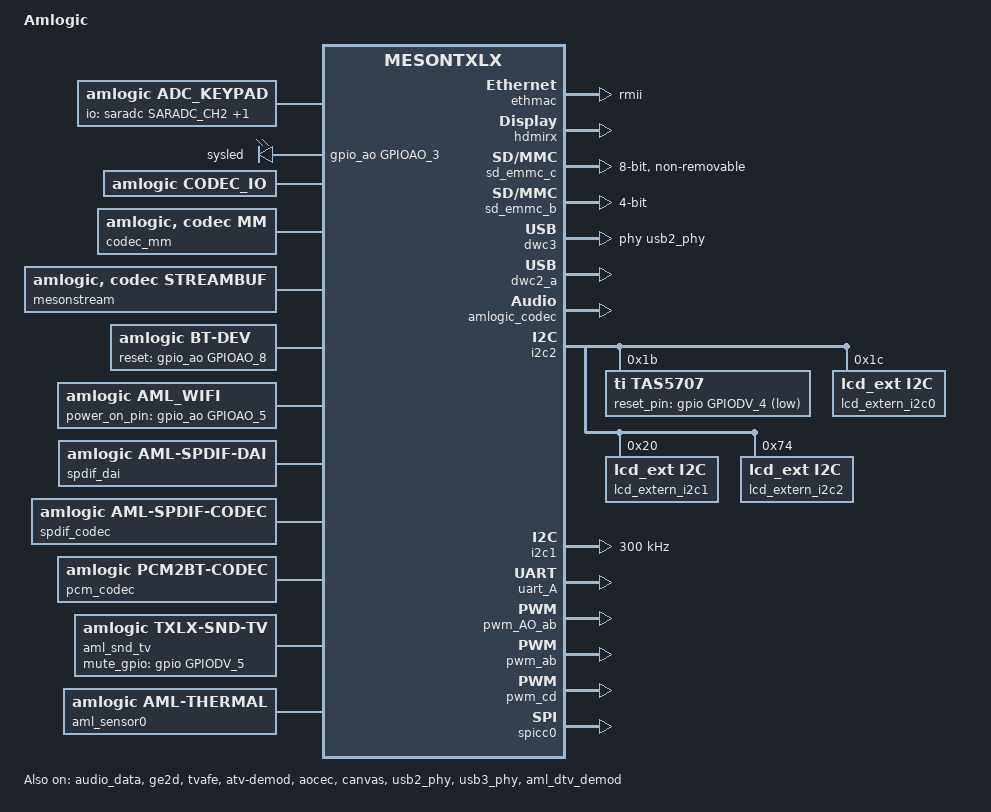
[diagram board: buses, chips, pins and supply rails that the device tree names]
/*
 * arch/arm/boot/dts/amlogic/txlx_t962x_r311_1g.dts
 *
 * Copyright (C) 2017 Amlogic, Inc. All rights reserved.
 *
 * This program is free software; you can redistribute it and/or modify
 * it under the terms of the GNU General Public License as published by
 * the Free Software Foundation; either version 2 of the License, or
 * (at your option) any later version.
 *
 * This program is distributed in the hope that it will be useful, but WITHOUT
 * ANY WARRANTY; without even the implied warranty of MERCHANTABILITY or
 * FITNESS FOR A PARTICULAR PURPOSE.  See the GNU General Public License for
 * more details.
 *
 */

/dts-v1/;
#include <dt-bindings/gpio/meson-txlx-gpio.h>
#include <dt-bindings/gpio/gpio.h>

#include "mesontxlx.dtsi"
#include "partition_mbox_normal.dtsi"
#include "mesontxlx_r311-panel.dtsi"

/ {
	model = "Amlogic";
	amlogic-dt-id = "txlx_t962x_r311-720p";
	compatible = "amlogic, txlx";
	interrupt-parent = <&gic>;
	#address-cells = <1>;
	#size-cells = <1>;

	aliases {
		serial0 = &uart_AO;
		serial1 = &uart_A;
		serial2 = &uart_B;
		serial3 = &uart_C;
		serial4 = &uart_AO_B;
	};

	ion_dev {
		compatible = "amlogic, ion_dev";
		memory-region = <&ion_reserved>;
	};

	memory@00000000 {
		device_type = "memory";
		linux,usable-memory = <0x100000 0x3ff00000>;
	};

	reserved-memory {
		#address-cells = <1>;
		#size-cells = <1>;
		ranges;
		/* global autoconfigured region for contiguous allocations */
		ramoops@0x07400000 {
			compatible = "ramoops";
			reg = <0x07400000 0x00100000>;
			record-size = <0x8000>;
			console-size = <0x8000>;
			ftrace-size = <0x0>;
			pmsg-size = <0x8000>;
		};
		secmon_reserved:linux,secmon {
			compatible = "shared-dma-pool";
			reusable;
			size = <0x400000>;
			alignment = <0x400000>;
			alloc-ranges = <0x05000000 0x400000>;
		};

		//secos_reserved:linux,secos {
		//	status = "disabled";
		//	compatible = "amlogic, aml_secos_memory";
		//	reg = <0x05300000 0x2000000>;
		//	no-map;
		//};



		logo_reserved:linux,meson-fb {
			compatible = "shared-dma-pool";
			reusable;
			size = <0x400000>;
			alignment = <0x400000>;
			alloc-ranges = <0x3fc00000 0x400000>;
		};

		//carveout_reserved:linux,carveout-reserve {
		//	compatible = "amlogic, idev-mem";
		//	size = <0x1000>;
		//};

		ion_reserved:linux,ion-dev {
			compatible = "shared-dma-pool";
			reusable;
			size = <0x4C00000>;
			alignment = <0x400000>;
			alloc-ranges = <0x0 0x30000000>;
		};

		/*di CMA pool */
		di_cma_reserved:linux,di_cma {
			compatible = "shared-dma-pool";
			reusable;
			/* buffer_size = 3621952(yuv422 8bit)
			 *  | 4736064(yuv422 10bit)
			 *  | 4179008(yuv422 10bit full pack mode)
			 * 10x3621952=34.6M(0x23) support 8bit
			 * 10x4736064=45.2M(0x2e) support 12bit
			 * 10x4179008=40M(0x28) support 10bit
			 */
			size = <0x02800000>;
			alignment = <0x400000>;
		};

		/* POST PROCESS MANAGER */
		ppmgr_reserved:linux,ppmgr {
			compatible = "amlogic, ppmgr_memory";
			size = <0x0>;
		};

		codec_mm_cma:linux,codec_mm_cma {
			compatible = "shared-dma-pool";
			reusable;
			/* ion_codec_mm max can alloc size 80M*/
			size = <0xd000000>;
			alignment = <0x400000>;
			linux,contiguous-region;
		};

		picdec_cma_reserved:linux,picdec {
			compatible = "shared-dma-pool";
			reusable;
			size = <0x0>;
			alignment = <0x0>;
			linux,contiguous-region;
		};

		/* codec shared reserved */
		codec_mm_reserved:linux,codec_mm_reserved {
			compatible = "amlogic, codec-mm-reserved";
			size = <0x0>;
			alignment = <0x100000>;
			//no-map;
		};

		demod_cma_reserved:linux,demod_cma {
			compatible = "shared-dma-pool";
			reusable;
			/* 5M */
			size = <0x0800000>;
			alignment = <0x400000>;
		};

		/*  vdin1 CMA pool */
		vdin1_cma_reserved:linux,vdin1_cma {
			compatible = "shared-dma-pool";
			linux,phandle = <5>;
			reusable;
			/* 1920x1080x2x4  =16+4 M */
			size = <0x01400000>;
			alignment = <0x400000>;
		};

		/*vbi reserved mem*/
		vbi_reserved:linux,vbi {
			compatible = "amlogic, vbi-mem";
			size = <0x100000>;
			alloc-ranges = <0x0 0x30000000>;
		};
	};

	amlogic_battery:dummy-battery {
		compatible = "amlogic, dummy-battery";
		status = "disabled";
	};

	amlogic_charger:dummy-charger {
		compatible = "amlogic, dummy-charger";
		status = "disabled";
	};

	/* for external keypad */
	adc_keypad {
		compatible = "amlogic, adc_keypad";
		status = "okay";
		key_name = "power","up","down","enter","left","right","home";
		key_num = <7>;
		io-channels = <&saradc SARADC_CH2>,
					<&saradc SARADC_CH3>;
		io-channel-names = "key-chan-2", "key-chan-3";
		key_chan = <SARADC_CH2 SARADC_CH2 SARADC_CH2 SARADC_CH2
					SARADC_CH2 SARADC_CH3 SARADC_CH3>;
		key_code = <116 103 108 28 105 106 102>;
		key_val = <0 143 266 389 512 143 266>; //val=voltage/1800mV*1023
		key_tolerance = <40 40 40 40 40 40 40>;
	};

	gpioleds {
		compatible = "gpio-leds";
		status = "okay";

		sys {
			label = "sysled";
			gpios = <&gpio_ao GPIOAO_3 GPIO_ACTIVE_HIGH>;
			default-state = "on"; /* keep/on/off */
			linux,default-trigger = "none";
		};

	};

	pwmleds {
		compatible = "pwm-leds";
		status = "disabled";
		pinctrl-names = "default";
		pinctrl-0 = <&pwmleds_pins>;

		sys {
			active-low;
			label = "sysled";
			max-brightness = <255>;
			pwms = <&pwm_AO_ab 0 50000 0>;
		};
	};

	ethmac: ethernet@0xff3f0000 {
		compatible = "amlogic, gxbb-eth-dwmac";
		status = "okay";
		reg = <0xff3f0000 0x10000
			0xff634540 0x8
			0xff634558 0xc
			0xffd01084 0x4>;
		interrupts = <0 8 1
				0 9 1>;

		phy-mode= "rmii";
		mc_val_internal_phy = <0x1804>;
		mc_val_external_phy = <0x1621>;
		interrupt-names = "macirq",
				"phyirq";
		clocks = <&clkc CLKID_ETH_CORE>;
		clock-names = "ethclk81";
		internal_phy = <1>;
	};

	vout {
		compatible = "amlogic, vout";
		dev_name = "vout";
		status = "okay";
		fr_auto_policy = <0>;
	};

	meson-fb {
		compatible = "amlogic, meson-txlx";
		memory-region = <&logo_reserved>;
		dev_name = "meson-fb";
		status = "okay";
		interrupts = <0 3 1
			0 89 1>;
		interrupt-names = "viu-vsync", "rdma";
		mem_size = <0x00400000 0x00b00000 0x00100000>;
		/* uboot logo,fb0/fb1 memory size,if afbcd fb0=0x0b51000*/
		display_mode_default = "720p60hz";
		scale_mode = <1>;
		/*1280*720*4*3 = 0xA8C000*/
		display_size_default = <1280 720 1280 2160 32>;
		pxp_mode = <0>; /** 0:normal mode 1:pxp mode */
		logo_addr = "0x3fc00000";
	};

	ge2d {
		compatible = "amlogic, ge2d-txlx";
		dev_name = "ge2d";
		status = "okay";
		interrupts = <0 150 1>;
		interrupt-names = "ge2d";
		clocks = <&clkc CLKID_VAPB_MUX>,
			<&clkc CLKID_G2D>,
			<&clkc CLKID_GE2D_GATE>;
		clock-names = "clk_vapb_0",
			"clk_ge2d",
			"clk_ge2d_gate";
		reg = <0xff940000 0x10000>;
	};

	codec_io {
		compatible = "amlogic, codec_io";
		status = "okay";
		#address-cells=<1>;
		#size-cells=<1>;
		ranges;
		io_cbus_base{
			reg = <0xffd00000 0x100000>;
		};
		io_dos_base{
			reg = <0xff620000 0x10000>;
		};
		io_hiubus_base{
			reg = <0xff63c000 0x2000>;
		};
		io_aobus_base{
			reg = <0xff800000 0x10000>;
		};
		io_vcbus_base{
			reg = <0xff900000 0x40000>;
		};
		io_dmc_base{
			reg = <0xff638000 0x2000>;
		};
	};

	codec_mm {
		compatible = "amlogic, codec, mm";
		memory-region = <&codec_mm_cma &codec_mm_reserved>;
		dev_name = "codec_mm";
		status = "okay";
	};

	mesonstream {
		compatible = "amlogic, codec, streambuf";
		dev_name = "mesonstream";
		status = "okay";
		clocks = <&clkc CLKID_DOS_PARSER
			&clkc CLKID_DEMUX
			&clkc CLKID_DOS
			&clkc CLKID_CLK81
			&clkc CLKID_VDEC_MUX
			&clkc CLKID_HCODEC_MUX
			&clkc CLKID_HEVC_MUX>;
		clock-names = "parser_top",
			"demux",
			"vdec",
			"clk_81",
			"clk_vdec_mux",
			"clk_hcodec_mux",
			"clk_hevc_mux";
	};

	vdec {
		compatible = "amlogic, vdec";
		dev_name = "vdec.0";
		status = "okay";
		interrupts = <0 3 1
			0 23 1
			0 32 1
			0 43 1
			0 44 1
			0 45 1>;
		interrupt-names = "vsync",
			"demux",
			"parser",
			"mailbox_0",
			"mailbox_1",
			"mailbox_2";
	};

	meson-amvideom {
		compatible = "amlogic, amvideom";
		dev_name = "amvideom";
		status = "okay";
		interrupts = <0 3 1>;
		interrupt-names = "vsync";
	};



	amvideocap {
		compatible = "amlogic, amvideocap";
		dev_name = "amvideocap.0";
		status = "disabled";
		max_size = <8>;//8M
	};

	picdec {
		compatible = "amlogic, picdec";
		memory-region = <&picdec_cma_reserved>;
		dev_name = "picdec";
		status = "okay";
	};

	ppmgr {
		compatible = "amlogic, ppmgr";
		memory-region = <&ppmgr_reserved>;
		dev_name = "ppmgr";
		status = "okay";
	};

	deinterlace {
		compatible = "amlogic, deinterlace";
		status = "okay";
		/* 0:use reserved; 1:use cma; 2:use cma as reserved */
		flag_cma = <1>;
		//memory-region = <&di_reserved>;
		memory-region = <&di_cma_reserved>;
		interrupts = <0 46 1
				0 6 1>;
		interrupt-names = "de_irq";
		clocks = <&clkc CLKID_VPU_MUX>,
			<&clkc CLKID_FCLK_DIV4>,
			<&clkc CLKID_VPU_CLKB_TMP_COMP>,
			<&clkc CLKID_VPU_CLKB_COMP>;
		clock-names = "vpu_mux",
			"fclk_div4",
			"vpu_clkb_tmp_composite",
			"vpu_clkb_composite";
		clock-range = <250 500>;
		/* buffer-size = <3621952>;(yuv422 8bit) */
		buffer-size = <4179008>;/*yuv422 fullpack*/
		/* reserve-iomap = "true"; */
		/* if enable nr10bit, set nr10bit-support to 1 */
		nr10bit-support = <1>;
	};
	ionvideo {
		compatible = "amlogic, ionvideo";
		dev_name = "ionvideo";
		status = "okay";
	};

	amlvideo {
		compatible = "amlogic, amlvideo";
		dev_name = "amlvideo";
		status = "okay";
	};

	amlvideo2_0 {
		compatible = "amlogic, amlvideo2";
		dev_name = "amlvideo2";
		status = "okay";
		amlvideo2_id = <0>;
		cma_mode = <1>;
	};

	amlvideo2_1 {
		compatible = "amlogic, amlvideo2";
		dev_name = "amlvideo2";
		status = "okay";
		amlvideo2_id = <1>;
		cma_mode = <1>;
	};

	hdmirx {
		compatible = "amlogic, hdmirx_txlx";
		#address-cells=<1>;
		#size-cells=<1>;
		dev_name = "hdmirx";
		status = "okay";
		pinctrl-names = "hdmirx_pins";
		pinctrl-0 = <&hdmirx_a_mux &hdmirx_b_mux
			&hdmirx_c_mux &hdmirx_d_mux>;
		repeat = <0>;
		interrupts = <0 56 1>;
		clocks = <&clkc CLKID_HDMIRX_MODET_COMP>,
			   <&clkc CLKID_HDMIRX_CFG_COMP>,
			   <&clkc CLKID_HDMIRX_ACR_COMP>,
			   <&clkc CLKID_HDMIRX_AUDMEAS_COMP>,
			   <&xtal>,
			   <&clkc CLKID_FCLK_DIV5>,
			   <&clkc CLKID_FCLK_DIV7>,
			   <&clkc CLKID_HDCP22_SKP_COMP>,
			   <&clkc CLKID_HDCP22_ESM_COMP>;
		//	   <&clkc CLK_AUD_PLL2FS>,
		//	   <&clkc CLK_AUD_PLL4FS>,
		//	   <&clkc CLK_AUD_OUT>;
		clock-names = "hdmirx_modet_clk",
			"hdmirx_cfg_clk",
				"hdmirx_acr_ref_clk",
				"hdmirx_audmeas_clk",
				"xtal",
				"fclk_div5",
				"fclk_div7",
				"hdcp_rx22_skp",
				"hdcp_rx22_esm";
		//		"hdmirx_aud_pll2fs",
		//		"hdmirx_aud_pll4f",
		//		"clk_aud_out";
		hdmirx_id = <0>;
		en_4k_2_2k = <0>;
		hpd_low_cec_off = <1>;
		/* bit4: enable feature, bit3~0: port number */
		disable_port = <0x0>;
		reg = <0xffd26000 0xa00000
			0xff63C000 0x2000
			0xffe0d000 0x2000
			0xff63e000 0x2000
			0x0 0x0
			0xff634400 0x2000
			0xff646000 0x2000>;
	};

	vdin0 {
		compatible = "amlogic, vdin";
		/*memory-region = <&vdin0_cma_reserved>;*/
		dev_name = "vdin0";
		status = "okay";
		reserve-iomap = "true";
		/*bit0:(1:share with codec_mm;0:cma alone)*/
		/*bit8:(1:alloc in discontinus way;0:alone in continuous way)*/
		flag_cma = <0x101>;
		/* MByte, if 10bit disable: 64M(YUV422),
		 * if 10bit enable: 64*1.5 = 96M(YUV422)
		 * if support 4K2K-YUV444-10bit-WR:3840*2160*4*4 ~= 128M
		 * if support 4K2K-YUV444-10bit-WR:3840*2160*4*6 ~= 190M
		 * if support 4K2K-YUV422-10bit-wr:3840*2160*3*4 ~= 96M
		 * if support 4K2K-YUV422-8BIT-WR:3840*2160*2*4 ~= 64M
		 * if support 1080p-YUV422-8BIT-WR:1920*1080*2*4 ~= 16M
		 */
		cma_size = <190>;
		interrupts = <0 83 1>;
		rdma-irq = <2>;
		clocks = <&clkc CLKID_FCLK_DIV5>,
			<&clkc CLKID_VDIN_MEAS_COMP>;
		clock-names = "fclk_div5", "cts_vdin_meas_clk";
		vdin_id = <0>;
		/* vdin write mem color depth support:
		 * bit0:support 8bit
		 * bit1:support 9bit
		 * bit2:support 10bit
		 * bit3:support 12bit
		 * bit4:support yuv422 10bit full pack mode (from txl new add)
		 * bit8:use 8bit  at 4k_50/60hz_10bit
		 * bit9:use 10bit at 4k_50/60hz_10bit
		 */
		tv_bit_mode = <0x215>;
	};

	vdin1 {
		compatible = "amlogic, vdin";
		memory-region = <&vdin1_cma_reserved>;
		dev_name = "vdin1";
		status = "okay";
		reserve-iomap = "true";
		flag_cma = <0>;/*1:share with codec_mm;0:cma alone*/
		interrupts = <0 85 1>;
		rdma-irq = <4>;
		clocks = <&clkc CLKID_FCLK_DIV5>,
			<&clkc CLKID_VDIN_MEAS_COMP>;
		clock-names = "fclk_div5", "cts_vdin_meas_clk";
		vdin_id = <1>;
		/* vdin write mem color depth support:
		 * bit0:support 8bit
		 * bit1:support 9bit
		 * bit2:support 10bit
		 * bit3:support 12bit
		 */
		tv_bit_mode = <1>;
	};

	tvafe {
		compatible = "amlogic, tvafe-txlx";
		/*memory-region = <&tvafe_cma_reserved>;*/
		dev_name = "tvafe";
		status = "okay";
		flag_cma = <1>;/*1:share with codec_mm;0:cma alone*/
		cma_size = <5>;/*MByte*/
		reg = <0xff642000 0x2000>;/*tvafe reg base*/
		reserve-iomap = "true";
		tvafe_id = <0>;
		//pinctrl-names = "default";
		/*!!particular sequence, no more and no less!!!*/
		tvafe_pin_mux = <
				3 /* TVAFE_CVBS_IN2, CVBS_IN0 = 0 */
				1 /* TVAFE_CVBS_IN0, CVBS_IN1 */
				2 /* TVAFE_CVBS_IN1, CVBS_IN2 */
				4 /* TVAFE_CVBS_IN3, CVBS_IN3 */
		>;
		clocks = <&clkc CLKID_DAC_CLK>;
		clock-names = "vdac_clk_gate";
	};

	vbi {
		compatible = "amlogic, vbi";
		memory-region = <&vbi_reserved>;
		dev_name = "vbi";
		status = "okay";
		interrupts = <0 83 1>;
		reserve-iomap = "true";
	};

	tvafe_avin_detect {
		compatible = "amlogic, tvafe_avin_detect";
		dev_name = "tvafe_avin_detect";
		status = "okay";
		device_mask = <1>;/*bit0:ch1;bit1:ch2*/
		interrupts = <0 12 1>,
				<0 13 1>;
	};

	amlvecm {
		compatible = "amlogic, vecm";
		dev_name = "aml_vecm";
		status = "okay";
		gamma_en = <1>;/*1:enabel ;0:disable*/
		wb_en = <1>;/*1:enabel ;0:disable*/
		cm_en = <1>;/*1:enabel ;0:disable*/
		wb_sel = <1>;/*1:mtx ;0:gainoff*/
		vlock_en = <1>;/*1:enable;0:disable*/
		vlock_mode = <0x4>;
		/* vlock work mode:
		 *bit0:auto ENC
		 *bit1:auto PLL
		 *bit2:manual PLL
		 *bit3:manual ENC
		 *bit4:manual soft ENC
		 *bit5:manual MIX PLL ENC
		 */
		 vlock_pll_m_limit = <1>;
		 vlock_line_limit = <3>;
	};
	amdolby_vision {
		compatible = "amlogic, dolby_vision_txlx";
		dev_name = "aml_amdolby_vision_driver";
		status = "okay";
		tv_mode = <1>;/*1:enabel ;0:disable*/
	};
	amvenc_avc {
		compatible = "amlogic, amvenc_avc";
		//memory-region = <&amvenc_avc_reserved>;
		//memory-region = <&avc_cma_reserved>;
		dev_name = "amvenc_avc";
		status = "okay";
		interrupts = <0 45 1>;
		interrupt-names = "mailbox_2";
	};

	tuner: tuner {
		status = "okay";
		tuner_name = "mxl661_tuner";
		tuner_i2c_adap = <&i2c1>;
		tuner_i2c_addr = <0x60>;
		tuner_xtal = <0>; /* 0: 16MHz, 1: 24MHz */
		tuner_xtal_mode = <0>;
					/* NO_SHARE_XTAL(0)
					 * SLAVE_XTAL_SHARE(1)
					 */
		tuner_xtal_cap = <30>; /* when tuner_xtal_mode = 1, set 25 */
	};

	atv-demod {
		compatible = "amlogic, atv-demod";
		status = "okay";
		tuner = <&tuner>;
		btsc_sap_mode = <1>;
		/* pinctrl-names="atvdemod_agc_pins"; */
		/* pinctrl-0=<&atvdemod_agc_pins>; */
		reg = <0xff640000 0x2000 /* demod reg */
				0xff63c000 0x2000 /* hiu reg */
				0xff634000 0x2000 /* periphs reg */
				0xff648000 0x2000>; /* audio reg */
		reg_23cf = <0x88188832>;
		/*default:0x88188832;r840 on haier:0x48188832*/
	};

	bt-dev {
		compatible = "amlogic, bt-dev";
		dev_name = "bt-dev";
		status = "okay";
		power_down_disable = <1>;
		gpio_reset = <&gpio_ao GPIOAO_8 GPIO_ACTIVE_HIGH>;
		//gpio_en = <&gpio_ao GPIOAO_5 GPIO_ACTIVE_HIGH>;
	};

	rtc {
		compatible = "amlogic, aml_vrtc";
		alarm_reg_addr = <0xff8000a8>;
		timer_e_addr = <0xffd0f188>;
		init_date = "2015/01/01";
		status = "okay";
	};

	wifi {
		compatible = "amlogic, aml_wifi";
		dev_name = "aml_wifi";
		status = "okay";
		interrupt_pin = <&gpio_ao GPIOAO_4 GPIO_ACTIVE_HIGH>;
		interrupts = <0 68 4>;
		irq_trigger_type = "GPIO_IRQ_HIGH";
		dhd_static_buf;
		power_on_pin = <&gpio_ao GPIOAO_5 GPIO_ACTIVE_HIGH>;
		pinctrl-names = "default";
		pinctrl-0 = <&wifi_32k_pins>;
		pwm_config = <&wifi_pwm_conf>;
	};

	wifi_pwm_conf: wifi_pwm_conf {
		pwm_channel1_conf {
			pwms = <&pwm_cd MESON_PWM_1 30541 0>;
			duty-cycle = <15270>;
			times = <10>;
		};
		pwm_channel2_conf {
			pwms = <&pwm_cd MESON_PWM_3 30500 0>;
			duty-cycle = <15250>;
			times = <12>;
		};
	};

	sd_emmc_c: emmc@ffe07000 {
		status = "okay";
		compatible = "amlogic, meson-mmc-txlx";
		reg = <0xffe07000 0x2000>;
		interrupts = <0 218 1>;
		pinctrl-names = "emmc_clk_cmd_pins", "emmc_all_pins";
		pinctrl-0 = <&emmc_clk_cmd_pins>;
		pinctrl-1 = <&emmc_conf_pull_up &emmc_conf_pull_done>;
		clocks = <&clkc CLKID_SD_EMMC_C>,
			   <&clkc CLKID_SD_EMMC_C_P0_COMP>,
			   <&clkc CLKID_FCLK_DIV2>,
			   <&clkc CLKID_FCLK_DIV5>,
			   <&xtal>;
		clock-names = "core", "clkin0", "clkin1", "clkin2", "xtal";

		bus-width = <8>;
		cap-sd-highspeed;
		cap-mmc-highspeed;
		mmc-ddr-1_8v;
		mmc-hs200-1_8v;

		max-frequency = <200000000>;
		non-removable;
		disable-wp;
		emmc {
			status = "disabled";
			pinname = "emmc";
			ocr_avail = <0x200080>; /**VDD voltage 3.3 ~ 3.4 */
			caps = "MMC_CAP_8_BIT_DATA",
				 "MMC_CAP_MMC_HIGHSPEED",
				 "MMC_CAP_SD_HIGHSPEED",
				 "MMC_CAP_NONREMOVABLE",
				 "MMC_CAP_1_8V_DDR",
				 "MMC_CAP_HW_RESET",
				 "MMC_CAP_ERASE",
				 "MMC_CAP_CMD23";
			caps2 = "MMC_CAP2_HS200", "MMC_CAP2_HS400";
			f_min = <400000>;
			f_max = <200000000>;
			max_req_size = <0x20000>; /**128KB*/
			gpio_dat3 = <&gpio BOOT_3 GPIO_ACTIVE_HIGH>;
			hw_reset = <&gpio BOOT_9 GPIO_ACTIVE_HIGH>;
			card_type = <1>;
			/* 1:mmc card(include eMMC),
			 * 2:sd card(include tSD)
			 */
		};
	};

	sd_emmc_b: sd@ffe05000 {
		status = "okay";
		compatible = "amlogic, meson-mmc-txlx";
		reg = <0xffe05000 0x2000>;
		interrupts = <0 217 1>;
		pinctrl-names = "sd_all_pins",
			"sd_clk_cmd_pins",
			"sd_1bit_pins",
			"sd_clk_cmd_uart_pins",
			"sd_1bit_uart_pins",
			"sd_to_ao_uart_pins",
			"ao_to_sd_uart_pins",
			"ao_to_sd_jtag_pins",
			"sd_to_ao_jtag_pins";
		pinctrl-0 = <&sd_all_pins>;
		pinctrl-1 = <&sd_clk_cmd_pins>;
		pinctrl-2 = <&sd_1bit_pins>;
		pinctrl-3 = <&sd_to_ao_uart_clr_pins
			&sd_clk_cmd_pins &ao_to_sd_uart_pins>;
		pinctrl-4 = <&sd_to_ao_uart_clr_pins
			&sd_1bit_pins &ao_to_sd_uart_pins>;
		pinctrl-5 = <&sd_all_pins &sd_to_ao_uart_pins>;
		pinctrl-6 = <&sd_to_ao_uart_clr_pins &ao_to_sd_uart_pins>;
		pinctrl-7 = <&sd_to_ao_uart_clr_pins &ao_to_sd_uart_pins>;
		pinctrl-8 = <&sd_all_pins &sd_to_ao_uart_pins>;
		clocks = <&clkc CLKID_SD_EMMC_B>,
			   <&clkc CLKID_SD_EMMC_B_P0_COMP>,
			   <&clkc CLKID_FCLK_DIV2>,
			   <&clkc CLKID_FCLK_DIV5>,
			   <&xtal>;
		clock-names = "core", "clkin0", "clkin1", "clkin2", "xtal";

		bus-width = <4>;
		cap-sd-highspeed;
		max-frequency = <100000000>;
		disable-wp;
		sd {
			status = "disabled";
			pinname = "sd";
			ocr_avail = <0x200080>; /**VDD voltage 3.3 ~ 3.4 */
			caps = "MMC_CAP_4_BIT_DATA",
				 "MMC_CAP_MMC_HIGHSPEED",
				 "MMC_CAP_SD_HIGHSPEED";
			/* "MMC_CAP_UHS_SDR12",
			 * "MMC_CAP_UHS_SDR25",
			 * "MMC_CAP_UHS_SDR50",
			 * "MMC_CAP_UHS_SDR104";
			 */
			f_min = <400000>;
			f_max = <200000000>;
			max_req_size = <0x20000>; /**128KB*/
			gpio_dat3 = <&gpio GPIOC_4 GPIO_ACTIVE_HIGH>;
			jtag_pin = <&gpio GPIOC_0 GPIO_ACTIVE_HIGH>;
			gpio_cd = <&gpio GPIOH_10 GPIO_ACTIVE_HIGH>;
			card_type = <5>;
			/* 3:sdio device(ie:sdio-wifi),
			 * 4:SD combo (IO+mem) card
			 * 5:NON sdio device(means sd/mmc card)
			 */
		};
	};

	unifykey {
		compatible = "amlogic, unifykey";
		status = "okay";

		unifykey-num = <20>;
		unifykey-index-0 = <&keysn_0>;
		unifykey-index-1 = <&keysn_1>;
		unifykey-index-2 = <&keysn_2>;
		unifykey-index-3 = <&keysn_3>;
		unifykey-index-4 = <&keysn_4>;
		unifykey-index-5 = <&keysn_5>;
		unifykey-index-6 = <&keysn_6>;
		unifykey-index-7 = <&keysn_7>;
		unifykey-index-8 = <&keysn_8>;
		unifykey-index-9 = <&keysn_9>;
		unifykey-index-10= <&keysn_10>;
		unifykey-index-11 = <&keysn_11>;
		unifykey-index-12 = <&keysn_12>;
		unifykey-index-13 = <&keysn_13>;
		unifykey-index-14 = <&keysn_14>;
		unifykey-index-15 = <&keysn_15>;
		unifykey-index-16 = <&keysn_16>;
		unifykey-index-17 = <&keysn_17>;
		unifykey-index-18 = <&keysn_18>;
		unifykey-index-19 = <&keysn_19>;

		keysn_0: key_0{
			key-name = "usid";
			key-device = "normal";
			key-permit = "read","write","del";
		};
		keysn_1:key_1{
			key-name = "mac";
			key-device  = "normal";
			key-permit = "read","write","del";
		};
		keysn_2:key_2{
			key-name = "hdcp";
			key-device = "secure";
			key-type  = "sha1";
			key-permit = "read","write","del";
		};
		keysn_3:key_3{
			key-name = "secure_boot_set";
			key-device = "efuse";
			key-permit = "write";
		};
		keysn_4:key_4{
			key-name = "mac_bt";
			key-device = "normal";
			key-permit = "read","write","del";
			key-type  = "mac";
		};
		keysn_5:key_5{
			key-name = "mac_wifi";
			key-device = "normal";
			key-permit = "read","write","del";
			key-type  = "mac";
		};
		keysn_6:key_6{
			key-name = "hdcp2_tx";
			key-device = "normal";
			key-permit = "read","write","del";
		};
		keysn_7:key_7{
			key-name = "hdcp2_rx";
			key-device = "normal";
			key-permit = "read","write","del";
		};
		keysn_8:key_8{
			key-name = "widevinekeybox";
			key-device = "secure";
			key-type = "sha1";
			key-permit = "read","write","del";
		};
		keysn_9:key_9{
			key-name = "deviceid";
			key-device = "normal";
			key-permit = "read","write","del";
		};
		keysn_10:key_10{
			key-name = "hdcp22_fw_private";
			key-device = "secure";
			key-permit = "read","write","del";
		};
		keysn_11:key_11{
			key-name = "hdcp22_rx_private";
			key-device = "secure";
			key-permit = "read","write","del";
		};
		keysn_12:key_12{
			key-name = "hdcp22_rx_fw";
			key-device = "normal";
			key-permit = "read","write","del";
		};
		keysn_13:key_13{
			key-name = "hdcp14_rx";
			key-device = "normal";
			key-type  = "sha1";
			key-permit = "read","write","del";
		};
		keysn_14:key_14{
			key-name = "prpubkeybox";// PlayReady
			key-device = "secure";
			key-permit = "read","write","del";
		};
		keysn_15:key_15{
			key-name = "prprivkeybox";// PlayReady
			key-device = "secure";
			key-permit = "read","write","del";
		};
		keysn_16:key_16{
			key-name = "lcd";
			key-device = "normal";
			key-permit = "read","write","del";
		};
		keysn_17:key_17{
			key-name = "lcd_extern";
			key-device = "normal";
			key-permit = "read","write","del";
		};
		keysn_18:key_18{
			key-name = "backlight";
			key-device = "normal";
			key-permit = "read","write","del";
		};
		keysn_19:key_19{
			key-name = "attestationkeybox";// attestation key
			key-device = "secure";
			key-permit = "read","write","del";
		};
	}; /* End unifykey */

	cvbsout {
		compatible = "amlogic, cvbsout-txlx";
		dev_name = "cvbsout";
		status = "disabled";
		clocks = <&clkc CLKID_VCLK2_ENCI
			&clkc CLKID_VCLK2_VENCI0
			&clkc CLKID_VCLK2_VENCI1
			&clkc CLKID_DAC_CLK>;
		clock-names = "venci_top_gate",
			"venci_0_gate",
			"venci_1_gate",
			"vdac_clk_gate";

		/* performance: reg_address, reg_value */
		performance = <0x1b56  0x343
			0x1b05  0xf4
			0x1c59  0xfc48
			0x1b12  0x8c00
			0xffff  0x0>; /* ending flag */
	};

	amhdmitx: amhdmitx {
		compatible = "amlogic, amhdmitx";
		dev_name = "amhdmitx";
		status = "disabled";
		pinctrl-names="default", "hdmitx_i2c";
		pinctrl-0=<&hdmitx_hpd &hdmitx_ddc>;
		pinctrl-1=<&hdmitx_hpd_gpio &i2c2_h_pins>;
		/* HPD, 57 + 32 = 89; CEC, 151 + 32 = 183*/
		interrupts = <0 57 1>;
		interrupt-names = "hdmitx_hpd";
		/* 0:M8B 1:GXBB 2:GXTVBB 3:GXL 4:GXM
		 * 5:TXL 6:TXLX 7:AXG 8:GXLX 9:TXHD
		 */
		ic_type = <6>;
		//gpio_i2c_en = <0>;
		//repeater_tx = <0x1>;
		//#address-cells = <2>;
		//#size-cells = <2>;
		//ranges;
	};

	i2c_gpio: i2c_gpio {
		compatible = "i2c-gpio";
		dev_name = "i2c-gpio";
		status = "disabled";
		i2c-gpio,delay-us = <10>; /* 50 kHz */
		gpios = <&gpio GPIOH_2 0
			&gpio GPIOH_3 0>;
		#address-cells = <2>;
		#size-cells = <2>;
		i2c-gpio,timeout-ms = <10>;
		i2c_gpio_edid: i2c_gpio_edid {
			compatible = "i2c-gpio";
			reg = <0x50 0x0 0x0 0x0>;
		};
	};

	aocec: aocec {
		compatible = "amlogic, aocec-txlx";
		device_name = "aocec";
		status = "okay";
		vendor_name = "Amlogic"; /* Max Chars: 8     */
		/* Refer to the following URL at:
		 * http://standards.ieee.org/develop/regauth/oui/oui.txt
		 */
		vendor_id = <0x000000>;
		product_desc = "TXLX"; /* Max Chars: 16    */
		cec_osd_string = "AML_TV"; /* Max Chars: 14    */
		port_num = <4>;
		/*ee_cec;*/
		arc_port_mask = <0x2>;
		interrupts = <0 205 1
					0 199 1>;
		interrupt-names = "hdmi_aocecb","hdmi_aocec";
		pinctrl-names = "default","hdmitx_aocecb","cec_pin_sleep";
		pinctrl-0=<&hdmitx_aocec>;
		pinctrl-1=<&hdmitx_aocecb>;
		pinctrl-2=<&hdmitx_aocecb>;
		reg = <0xFF80023c 0x4
		       0xFF800000 0x400>;
		reg-names = "ao_exit","ao";
	};


	canvas {
		compatible = "amlogic, meson, canvas";
		dev_name = "amlogic-canvas";
		status = "okay";
		reg = <0xff638000 0x2000>;
	};

	rdma {
		compatible = "amlogic, meson, rdma";
		dev_name = "amlogic-rdma";
		status = "okay";
		interrupts = <0 89 1>;
		interrupt-names = "rdma";
	};

	dwc3: dwc3@ff500000 {
		compatible = "synopsys, dwc3";
		status = "okay";
		reg = <0xff500000 0x100000>;
		interrupts = <0 30 4>;
		usb-phy = <&usb2_phy>, <&usb3_phy>;
		cpu-type = "gxl";
		clock-src = "usb3.0";
	};

	usb2_phy: usb2phy@ffe09000 {
		compatible = "amlogic, amlogic-new-usb2";
		status = "okay";
		portnum = <4>;
		reg = <0xffe09000 0x80
			0xffd01008 0x4>;
	};

	usb3_phy: usb3phy@ffe09080 {
		compatible = "amlogic, amlogic-new-usb3";
		status = "okay";
		portnum = <0>;
		reg = <0xffe09080 0x20>;
	};

	dwc2_a {
		compatible = "amlogic, dwc2";
		device_name = "dwc2_a";
		reg = <0xff400000 0x40000>;
		status = "okay";
		interrupts = <0 31 4>;
		pl-periph-id = <0>; /** lm name */
		clock-src = "usb0"; /** clock src */
		port-id = <0>;  /** ref to mach/usb.h */
		port-type = <2>;        /** 0: otg, 1: host, 2: slave */
		port-speed = <0>; /** 0: default, high, 1: full */
		port-config = <0>; /** 0: default */
		/*0:default,1:single,2:incr,3:incr4,4:incr8,5:incr16,6:disable*/
		port-dma = <0>;
		port-id-mode = <0>; /** 0: hardware, 1: sw_host, 2: sw_slave*/
		usb-fifo = <728>;
		cpu-type = "gxl";
		/** 0: normal, 1: otg+dwc3 host only, 2: otg+dwc3 device only*/
		controller-type = <1>;
		phy-reg = <0xffe09000>;
		phy-reg-size = <0xa0>;
		clocks = <&clkc CLKID_USB_GENERAL
					&clkc CLKID_USB1_TO_DDR>;
		clock-names = "usb_general",
						"usb1";
	};

	/* Sound iomap */
	aml_snd_iomap {
		compatible = "amlogic, meson-snd-iomap";
		status = "okay";
		#address-cells=<1>;
		#size-cells=<1>;
		ranges;
		io_audin_base {
			reg = <0xffd03000 0x100000>;
		};
		io_aiu_base {
			reg = <0xFFCFFC00 0x100000>;
		};
		io_eqdrc_base {
			reg = <0xFFCFF000 0x100000>;
		};
		io_hiu_reset_base {
			reg = <0xFFCFCC00 0x100000>;
		};
		io_isa_base {
			reg = <0xFFD05800 0x100000>;
		};
	};

	/* AUDIO DEVICES */
	i2s_dai: I2S {
		#sound-dai-cells = <0>;
		/* config mpll whether same with audin */
		clocks = <&clkc CLKID_MPLL3>,
			<&clkc CLKID_AMCLK_COMP>,
			<&clkc CLKID_AIU_GLUE>,
			<&clkc CLKID_I2S_OUT>,
			<&clkc CLKID_AMCLK_MEASURE>,
			<&clkc CLKID_AIFIFO2>,
			<&clkc CLKID_MIXER>,
			<&clkc CLKID_MIXER_IFACE>,
			<&clkc CLKID_ADC>,
			<&clkc CLKID_AIU_TOP>,
			<&clkc CLKID_AOCLK_GATE>,
			<&clkc CLKID_I2S_SPDIF>,
			<&clkc CLKID_DAC_CLK>;
		clock-names = "mpll",
			"mclk",
			"top_glue",
			"i2s_out",
			"amclk_measure",
			"aififo2",
			"aud_mixer",
			"mixer_reg",
			"adc",
			"top_level",
			"aoclk",
			"aud_in",
			"vdac_clk";
		compatible = "amlogic, aml-i2s-dai";
	};

	i2s2_dai: I2S2 {
		#sound-dai-cells = <0>;
		/* config mpll whether same with aiu */
		clocks = <&clkc CLKID_MPLL2>,
			<&clkc CLKID_AUDIN_MCLK_COMP>,
			<&clkc CLKID_AUDIN_SCLK_COMP>,
			<&clkc CLKID_AUDIN_LRCLK_COMP>;
		clock-names = "audin_mpll",
			"audin_mclk",
			"audin_sclk",
			"audin_lrclk";
		compatible = "amlogic, aml-i2s2-dai";
	};

	spdif_dai: SPDIF {
		#sound-dai-cells = <0>;
		compatible = "amlogic, aml-spdif-dai";
		clocks = <&clkc CLKID_MPLL1>,
			<&clkc CLKID_IEC958_INT_COMP>,
			<&clkc CLKID_AMCLK_COMP>,
			<&clkc CLKID_IEC958_MUX>,
			<&clkc CLKID_CLK81>,
			<&clkc CLKID_IEC958>,
			<&clkc CLKID_IEC958_GATE>;
		clock-names =
			"mpll1",
			"i958",
			"mclk",
			"spdif",
			"clk_81",
			"iec958",
			"iec958_amclk";
	};

	pcm_dai: PCM {
		#sound-dai-cells = <0>;
		compatible = "amlogic, aml-pcm-dai";
		pinctrl-names = "audio_pcm";
		/* disable pcm pin mux temporary, enable it if necessary */
		/*pinctrl-0 = <&aml_audio_pcm>;*/
		clocks = <&clkc CLKID_MPLL0>,
			<&clkc CLKID_PCM_MCLK_COMP>,
			<&clkc CLKID_PCM_SCLK_COMP>;
		clock-names = "mpll0", "pcm_mclk", "pcm_sclk";
		pcm_mode = <1>;	/* 0=slave mode, 1=master mode */
	};

	i2s_plat: i2s_platform {
		compatible = "amlogic, aml-i2s";
		interrupts = <0 29 1>;
	};

	pcm_plat: pcm_platform {
		compatible = "amlogic, aml-pcm";
	};

	spdif_codec: spdif_codec{
		#sound-dai-cells = <0>;
		compatible = "amlogic, aml-spdif-codec";
		pinctrl-names = "audio_spdif_out", "audio_spdif_out_mute";
		pinctrl-0 = <&audio_spdif_out_pins>;
		pinctrl-1 = <&audio_spdif_out_mute_pins>;
	};

	pcm_codec: pcm_codec{
		#sound-dai-cells = <0>;
		compatible = "amlogic, pcm2BT-codec";
	};
	/* end of AUDIO DEVICES */

	/* AUDIO board specific */
	dummy_codec:dummy{
		#sound-dai-cells = <0>;
		compatible = "amlogic, aml_dummy_codec";
		status = "okay";
	};

	amlogic_codec:txlx_acodec{
		#sound-dai-cells = <0>;
		compatible = "amlogic, txlx_acodec";
		reg = <0xFF632000 0x1c>;
		status = "okay";
	};

	aml_snd_tv {
		compatible = "amlogic, txlx-snd-tv";
		status = "okay";
		aml-sound-card,format = "i2s";
		aml_sound_card,name = "AML-TVAUDIO";
		pinctrl-names = "audio_i2s";
		pinctrl-0 = <&aml_audio_i2s>;
		/*avout mute gpio*/
		mute_gpio-gpios = <&gpio GPIODV_5 GPIO_ACTIVE_HIGH>;
		/*analog amp mute*/
		/*amp_mute_gpio-gpios = <&gpio GPIOZ_18 GPIO_ACTIVE_LOW>;*/
		aux_dev = <&tas5707>;
		cpu_list = <&cpudai0 &cpudai1 &cpudai2 &cpudai3>;
		codec_list = <&codec0 &codec1 &codec2 &codec3>;
		plat_list = <&i2s_plat &i2s_plat &pcm_plat &i2s_plat>;
		cpudai0: cpudai0 {
			sound-dai = <&i2s_dai>;
		};
		cpudai1: cpudai1 {
			sound-dai = <&spdif_dai>;
		};
		cpudai2: cpudai2 {
			sound-dai = <&pcm_dai>;
		};
		cpudai3: cpudai3 {
			sound-dai = <&i2s2_dai>;
		};
		codec0: codec0 {
			sound-dai = <&amlogic_codec>;
		};
		codec1: codec1 {
			sound-dai = <&spdif_codec>;
		};
		codec2: codec2 {
			sound-dai = <&pcm_codec>;
		};
		codec3: codec3 {
			sound-dai = <&dummy_codec>;
		};
		Channel_Mask {
			/*i2s has 4 pins, 8channel, mux output*/
			Speaker0_Channel_Mask = "i2s_2/3";
			DAC0_Channel_Mask = "i2s_4/5";
			DAC1_Channel_Mask = "i2s_4/5";
			EQ_DRC_Channel_Mask = "i2s_2/3";
			Spdif_samesource_Channel_Mask = "i2s_0/1";
		};
	};

	amaudio2 {
		compatible = "amlogic, aml_amaudio2";
		status = "okay";
		interrupts = <0 48 1>;
	};
	/* end of AUDIO board specific */

	aml_sensor0: aml-sensor@0 {
		compatible = "amlogic, aml-thermal";
		device_name = "thermal";
		status = "okay";
		#thermal-sensor-cells = <1>;
		cooling_devices {
			cpufreq_cool_cluster0 {
				min_state = <1000000>;
				dyn_coeff = <140>;
				cluster_id = <0>;
				node_name = "cpus";
				device_type = "cpufreq";
			};
			cpucore_cool_cluster0 {
				min_state = <1>;
				dyn_coeff = <0>;
				cluster_id = <0>;
				node_name = "cpu_core_cluster0";
				device_type = "cpucore";
			};
			gpufreq_cool {
				min_state = <400>;
				dyn_coeff = <437>;
				cluster_id = <0>;
				node_name = "mali";
				device_type = "gpufreq";
			};
			gpucore_cool {
				min_state = <1>;
				dyn_coeff = <0>;
				cluster_id = <0>;
				node_name = "thermal_gpu_cores";
				device_type = "gpucore";
			};
		};
		cpu_cluster0:cpu_core_cluster0 {
			#cooling-cells = <2>; /* min followed by max */
		};
		gpucore:thermal_gpu_cores {
			#cooling-cells = <2>; /* min followed by max */
		};
	};

	dvb {
		compatible = "amlogic, dvb";
		dev_name = "dvb";
		status = "okay";
		fe0_mode = "internal";
		fe0_tuner = <&tuner>;
		/*"parallel","serial","disable"*/
		ts2 = "parallel";
		ts2_control = <0>;
		ts2_invert = <0>;
		interrupts = <0 23 1
					0 5 1
					0 53 1
					0 19 1
					0 25 1
					0 18 1
					0 24 1>;
		interrupt-names = "demux0_irq",
						"demux1_irq",
						"demux2_irq",
						"dvr0_irq",
						"dvr1_irq",
						"dvrfill0_fill",
						"dvrfill1_flush";
		clocks = <&clkc CLKID_DEMUX
			&clkc CLKID_ASYNC_FIFO
			&clkc CLKID_AHB_ARB0
			&clkc CLKID_DOS_PARSER>;
		clock-names = "demux", "asyncfifo", "ahbarb0", "uparsertop";
	};
	aml_dtv_demod {
		compatible = "amlogic, ddemod-txlx";
		dev_name = "aml_dtv_demod";
		status = "okay";

		//pinctrl-names="dtvdemod_agc";
		//pinctrl-0=<&dtvdemod_agc>;


		clocks = <&clkc CLKID_DAC_CLK>;
		clock-names = "vdac_clk_gate";


		reg = <0xff644000 0x2000	/*dtv demod base*/
			   0xff63c000 0x2000	/*hiu reg base*/
			   0xff800000 0x1000	/*io_aobus_base*/
			   0xffd01000 0x1000	/*reset*/
			   >;
		/*move from dvbfe*/
		dtv_demod0_mem = <0>;	// need move to aml_dtv_demod ?
		spectrum = <1>;
		cma_flag = <1>;
		cma_mem_size = <8>;
		memory-region = <&demod_cma_reserved>;//<&demod_reserved>;
	};
	dvbfe {
		compatible = "amlogic, dvbfe";
		dev_name = "dvbfe";
		status = "disabled";
		dtv_demod0 = "AMLDEMOD";
		fe0_dtv_demod = <0>;
		fe0_ts = <2>;
		fe0_dev = <0>;
		dtv_demod0_mem = <0>;
		dtv_demod0_spectrum = <1>;
		dtv_demod0_cma_flag = <1>;
		dtv_demod0_cma_mem_size = <8>;
		memory-region = <&demod_cma_reserved>;//<&demod_reserved>;
		tuner0 = "si2151_tuner";
		tuner0_i2c_adap_id = <2>;
		tuner0_i2c_addr = <0x60>;
		//tuner0_reset_value = <0>;
		//tuner0_reset_gpio =  "GPIOY_10" ;  /*GPIOX_8   76*/
		fe0_tuner = <0>;
		atv_demod0 = "aml_atv_demod";
		fe0_atv_demod = <0>;
	};

	thermal-zones {
		soc_thermal {
			polling-delay = <1000>;
			polling-delay-passive = <100>;
			sustainable-power = <2150>;

			thermal-sensors = <&aml_sensor0 3>;

			trips {
				switch_on: trip-point@0 {
					temperature = <70000>;
					hysteresis = <1000>;
					type = "passive";
				};
				control: trip-point@1 {
					temperature = <80000>;
					hysteresis = <1000>;
					type = "passive";
				};
				hot: trip-point@2 {
					temperature = <85000>;
					hysteresis = <5000>;
					type = "hot";
				};
				critical: trip-point@3 {
					temperature = <260000>;
					hysteresis = <1000>;
					type = "critical";
				};
			};

			cooling-maps {
				cpufreq_cooling_map {
					trip = <&control>;
					cooling-device = <&cpus 0 4>;
					contribution = <1024>;
				};
				cpucore_cooling_map {
					trip = <&control>;
					cooling-device = <&cpu_cluster0 0 3>;
					contribution = <1024>;
				};
				gpufreq_cooling_map {
					trip = <&control>;
					cooling-device = <&gpu 0 4>;
					contribution = <1024>;
				};
				gpucore_cooling_map {
					trip = <&control>;
					cooling-device = <&gpucore 0 2>;
					contribution = <1024>;
				};
			};
		};
	};

}; /* end of / */

&i2c2 {
	status = "okay";
	pinctrl-names="default";
	pinctrl-0=<&i2c2_h_pins>;

	tas5707: tas5707@36 {
		compatible = "ti,tas5707";
		#sound-dai-cells = <0>;
		codec_name = "tas5707";
		reg = <0x1B>;
		reset_pin = <&gpio GPIODV_4 GPIO_ACTIVE_LOW>;
		eq_enable = <0>;
		drc_enable = <0>;
		status = "okay";
	};

	lcd_extern_i2c0: lcd_extern_i2c@0 {
		compatible = "lcd_ext, i2c";
		dev_name = "i2c_T5800Q";
		reg = <0x1c>;
		status = "okay";
	};

	lcd_extern_i2c1: lcd_extern_i2c@1 {
		compatible = "lcd_ext, i2c";
		dev_name = "i2c_ANX6862";
		reg = <0x20>;
		status = "okay";
	};

	lcd_extern_i2c2: lcd_extern_i2c@2 {
		compatible = "lcd_ext, i2c";
		dev_name = "i2c_ANX7911";
		reg = <0x74>;
		status = "okay";
	};
};

&i2c1 {
	status = "okay";
	clock-frequency = <300000>;
	pinctrl-names="default";
	pinctrl-0=<&i2c1_dv_pins>;
};

&pinctrl_periphs {
	/*i2s*/
	aml_audio_i2s: aml_audio_i2s {
		mux {
			groups = "i2s_mclk_h",
				"i2s_sclk_h",
				"i2s_lrclk_h",
				"i2s_dout01_h6";
			function = "i2s";
		};
	};
	/*spdif*/
	audio_spdif_out_pins: audio_spdif_out_pins {
		mux {
			groups = "spdif_out_dv";
			function = "spdif_out";
		};
	};
	audio_spdif_out_mute_pins: audio_spdif_out_mute_pins {
		mux {
			groups = "GPIODV_6";
			function = "gpio_periphs";
		};
	};
	/*pcm*/
	aml_audio_pcm: aml_audio_pcm {
		mux {
			groups =
				"pcm_clk_a_dv",
				"pcm_fs_a_dv",
				"pcm_in_a_dv",
				"pcm_out_a_dv";
			function = "pcm_a";
		};
	};

	/*lcd_extern*/
	lcd_extern_off_pins:lcd_extern_off_pin {
		mux {
			pins = "GPIOH_2",
				"GPIOH_3";
			function = "gpio_periphs";
			/*output-high;*/
			output-low;
			/*input-enable;*/
		};
	};

	/*backlight*/
	bl_pwm_on_pins:bl_pwm_on_pin {
		mux {
			pins = "pwm_b";
			function = "pwm_b";
		};
	};
	bl_pwm_vs_on_pins:bl_pwm_vs_on_pin {
		mux {
			pins = "pwm_vs_z6";
			function = "pwm_vs";
		};
	};
	bl_pwm_off_pins:bl_pwm_off_pin {
		mux {
			pins = "GPIOZ_6";
			function = "gpio_periphs";
			output-low;
		};
	};
	bl_pwm_combo_0_on_pins:bl_pwm_combo_0_on_pin {
		mux {
			pins = "pwm_b";
			function = "pwm_b";
		};
	};
	bl_pwm_combo_1_on_pins:bl_pwm_combo_1_on_pin {
		mux {
			pins = "pwm_c_z";
			function = "pwm_c";
		};
	};
	bl_pwm_combo_0_vs_on_pins:bl_pwm_combo_0_vs_on_pin {
		mux {
			pins = "pwm_vs_z6";
			function = "pwm_vs";
		};
	};
	bl_pwm_combo_1_vs_on_pins:bl_pwm_combo_1_vs_on_pin {
		mux {
			pins = "pwm_vs_z7";
			function = "pwm_vs";
		};
	};
	bl_pwm_combo_off_pins:bl_pwm_combo_off_pin {
		mux {
			pins = "GPIOZ_6",
				"GPIOZ_7";
			function = "gpio_periphs";
			output-low;
		};
	};
};

&uart_A {
	status = "okay";
};

&audio_data{
	status = "okay";
};

&pwm_AO_ab {
	status = "okay";
};

&pwm_ab {
	status = "okay";
};

&pwm_cd {
	status = "okay";
};

&spicc0 {
	status = "okay";
	pinctrl-names = "default";
	pinctrl-0 = <&spi_a_pins>;
	cs-gpios = <&gpio GPIOZ_3 0>;
};
